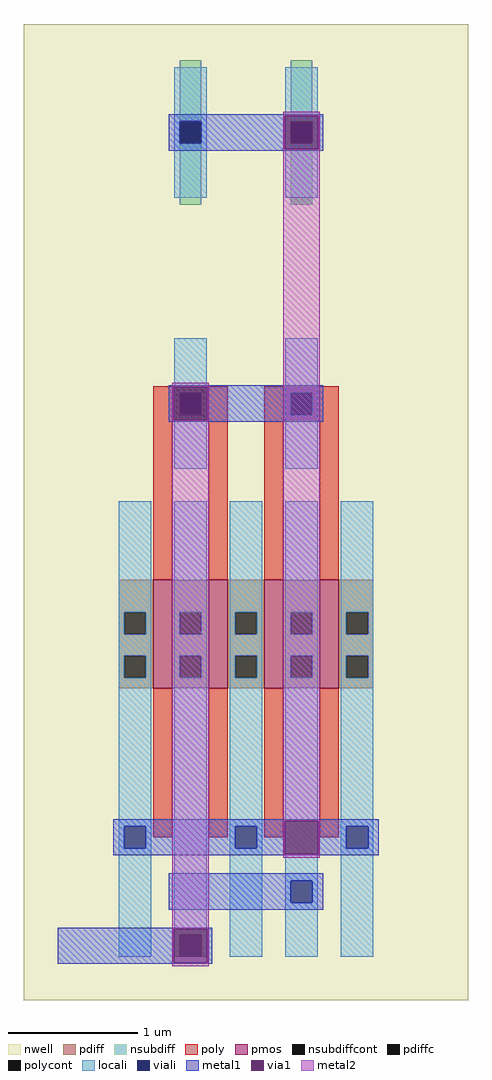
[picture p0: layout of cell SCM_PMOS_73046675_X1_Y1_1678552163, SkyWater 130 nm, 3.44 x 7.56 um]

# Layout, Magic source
magic
tech sky130A
magscale 1 2
<< nwell >>
rect 0 0 688 1512
<< pmos >>
rect 200 483 230 651
rect 286 483 316 651
rect 372 483 402 651
rect 458 483 488 651
<< pdiff >>
rect 147 601 200 651
rect 147 567 155 601
rect 189 567 200 601
rect 147 533 200 567
rect 147 499 155 533
rect 189 499 200 533
rect 147 483 200 499
rect 230 601 286 651
rect 230 567 241 601
rect 275 567 286 601
rect 230 533 286 567
rect 230 499 241 533
rect 275 499 286 533
rect 230 483 286 499
rect 316 601 372 651
rect 316 567 327 601
rect 361 567 372 601
rect 316 533 372 567
rect 316 499 327 533
rect 361 499 372 533
rect 316 483 372 499
rect 402 601 458 651
rect 402 567 413 601
rect 447 567 458 601
rect 402 533 458 567
rect 402 499 413 533
rect 447 499 458 533
rect 402 483 458 499
rect 488 601 541 651
rect 488 567 499 601
rect 533 567 541 601
rect 488 533 541 567
rect 488 499 499 533
rect 533 499 541 533
rect 488 483 541 499
<< pdiffc >>
rect 155 567 189 601
rect 155 499 189 533
rect 241 567 275 601
rect 241 499 275 533
rect 327 567 361 601
rect 327 499 361 533
rect 413 567 447 601
rect 413 499 447 533
rect 499 567 533 601
rect 499 499 533 533
<< nsubdiff >>
rect 241 1361 275 1456
rect 241 1232 275 1327
rect 413 1361 447 1456
rect 413 1232 447 1327
<< nsubdiffcont >>
rect 241 1327 275 1361
rect 413 1327 447 1361
<< poly >>
rect 200 941 316 951
rect 200 907 241 941
rect 275 907 316 941
rect 200 897 316 907
rect 200 651 230 897
rect 286 651 316 897
rect 372 941 488 951
rect 372 907 413 941
rect 447 907 488 941
rect 372 897 488 907
rect 372 651 402 897
rect 458 651 488 897
rect 200 252 230 483
rect 286 252 316 483
rect 372 252 402 483
rect 458 252 488 483
<< polycont >>
rect 241 907 275 941
rect 413 907 447 941
<< locali >>
rect 233 1361 283 1445
rect 233 1327 241 1361
rect 275 1327 283 1361
rect 233 1243 283 1327
rect 405 1361 455 1445
rect 405 1327 413 1361
rect 447 1327 455 1361
rect 405 1243 455 1327
rect 233 941 283 1025
rect 233 907 241 941
rect 275 907 283 941
rect 233 823 283 907
rect 405 941 455 1025
rect 405 907 413 941
rect 447 907 455 941
rect 405 823 455 907
rect 147 601 197 773
rect 147 567 155 601
rect 189 567 197 601
rect 147 533 197 567
rect 147 499 155 533
rect 189 499 197 533
rect 147 269 197 499
rect 147 235 155 269
rect 189 235 197 269
rect 147 67 197 235
rect 233 601 283 773
rect 233 567 241 601
rect 275 567 283 601
rect 233 533 283 567
rect 233 499 241 533
rect 275 499 283 533
rect 233 101 283 499
rect 233 67 241 101
rect 275 67 283 101
rect 319 601 369 773
rect 319 567 327 601
rect 361 567 369 601
rect 319 533 369 567
rect 319 499 327 533
rect 361 499 369 533
rect 319 269 369 499
rect 319 235 327 269
rect 361 235 369 269
rect 319 67 369 235
rect 405 601 455 773
rect 405 567 413 601
rect 447 567 455 601
rect 405 533 455 567
rect 405 499 413 533
rect 447 499 455 533
rect 405 185 455 499
rect 405 151 413 185
rect 447 151 455 185
rect 405 67 455 151
rect 491 601 541 773
rect 491 567 499 601
rect 533 567 541 601
rect 491 533 541 567
rect 491 499 499 533
rect 533 499 541 533
rect 491 269 541 499
rect 491 235 499 269
rect 533 235 541 269
rect 491 67 541 235
<< viali >>
rect 241 1327 275 1361
rect 413 1327 447 1361
rect 241 907 275 941
rect 413 907 447 941
rect 155 235 189 269
rect 241 67 275 101
rect 327 235 361 269
rect 413 151 447 185
rect 499 235 533 269
<< metal1 >>
rect 224 1370 464 1372
rect 224 1361 404 1370
rect 224 1327 241 1361
rect 275 1327 404 1361
rect 224 1318 404 1327
rect 456 1318 464 1370
rect 224 1316 464 1318
rect 224 950 464 952
rect 224 898 232 950
rect 284 941 464 950
rect 284 907 413 941
rect 447 907 464 941
rect 284 898 464 907
rect 224 896 464 898
rect 138 278 550 280
rect 138 269 404 278
rect 138 235 155 269
rect 189 235 327 269
rect 361 235 404 269
rect 138 226 404 235
rect 456 269 550 278
rect 456 235 499 269
rect 533 235 550 269
rect 456 226 550 235
rect 138 224 550 226
rect 224 185 464 196
rect 224 151 413 185
rect 447 151 464 185
rect 224 140 464 151
rect 52 110 292 112
rect 52 58 232 110
rect 284 58 292 110
rect 52 56 292 58
<< via1 >>
rect 404 1361 456 1370
rect 404 1327 413 1361
rect 413 1327 447 1361
rect 447 1327 456 1361
rect 404 1318 456 1327
rect 232 941 284 950
rect 232 907 241 941
rect 241 907 275 941
rect 275 907 284 941
rect 232 898 284 907
rect 404 226 456 278
rect 232 101 284 110
rect 232 67 241 101
rect 241 67 275 101
rect 275 67 284 101
rect 232 58 284 67
<< metal2 >>
rect 402 1370 458 1376
rect 402 1318 404 1370
rect 456 1318 458 1370
rect 230 950 286 956
rect 230 898 232 950
rect 284 898 286 950
rect 230 110 286 898
rect 402 278 458 1318
rect 402 226 404 278
rect 456 226 458 278
rect 402 220 458 226
rect 230 58 232 110
rect 284 58 286 110
rect 230 52 286 58
<< end >>
